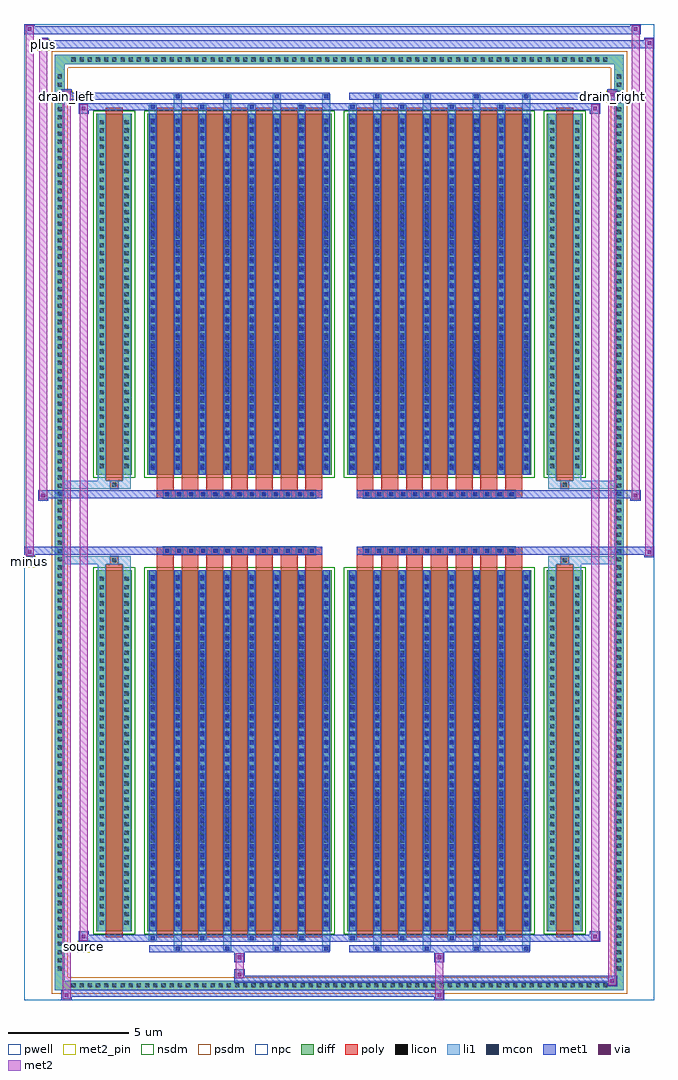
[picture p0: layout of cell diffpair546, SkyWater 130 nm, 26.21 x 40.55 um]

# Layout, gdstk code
import gdstk
lib = gdstk.Library(unit=1e-6, precision=5e-09)
def R(c, l, rs):  # rectangles x0, y0, x1, y1
    for r in rs: c.add(gdstk.rectangle(r[:2], r[2:], *l))
def A(c, l, x, y, w, h, nx, ny, dx, dy):  # array of equal rectangles
    R(c, l, [(x+i*dx, y+j*dy, x+i*dx+w, y+j*dy+h) for i in range(nx) for j in range(ny)])
def P(c, l, *ps):  # polygons
    for p in ps: c.add(gdstk.Polygon(p, *l))
pwell = (64, 44)
diff = (65, 20)
poly = (66, 20)
licon = (66, 44)
li1 = (67, 20)
mcon = (67, 44)
met1 = (68, 20)
via = (68, 44)
met2_pin = (69, 16)
met2 = (69, 20)
nsdm = (93, 44)
psdm = (94, 20)
npc = (95, 20)

diffpair546 = lib.new_cell('diffpair546')
R(diffpair546, pwell, [(-13.09,-19.84,13.09,20.71), (-10.41,-18.03,-0.01,-0.805), (0.01,-18.03,10.41,-0.805), (-10.41,0.805,-0.01,18.03), (0.01,0.805,10.41,18.03)])
A(diffpair546, diff, -11.255, -19.44, 0.41, 0.41, 66, 2, 0.34, 38.47)
A(diffpair546, diff, -11.82, -18.735, 0.41, 0.41, 1, 110, 0, 0.34)
A(diffpair546, diff, 11.41, -18.735, 0.41, 0.41, 1, 110, 0, 0.34)
R(diffpair546, diff, [(-11.255,-19.44,11.255,-19.03), (-11.82,-18.735,-11.41,18.735), (11.41,-18.735,11.82,18.735), (-10.1,-16.985,-8.62,-1.985), (-7.98,-16.985,-0.32,-1.985), (0.32,-16.985,7.98,-1.985), (8.62,-16.985,10.1,-1.985), (-10.1,1.985,-8.62,16.985), (-7.98,1.985,-0.32,16.985), (0.32,1.985,7.98,16.985), (8.62,1.985,10.1,16.985), (-11.255,19.03,11.255,19.44)])
P(diffpair546, diff, [(11.82,19.44),(-11.82,19.44),(-11.82,-19.03),(-11.41,-19.03),(-11.41,19.03),(11.41,19.03),(11.41,-19.03),(-11.41,-19.03),(-11.82,-19.03),(-11.82,-19.44),(11.82,-19.44)])
A(diffpair546, poly, -7.59, -17.235, 0.7, 15.5, 7, 2, 1.03, 18.97)
A(diffpair546, poly, 0.71, -17.235, 0.7, 15.5, 7, 2, 1.03, 18.97)
A(diffpair546, poly, -7.59, -1.735, 0.7, 0.4, 7, 2, 1.03, 3.07)
A(diffpair546, poly, 0.71, -1.735, 0.7, 0.4, 7, 2, 1.03, 3.07)
A(diffpair546, poly, -7.315, -1.335, 0.33, 0.33, 13, 2, 0.5, 2.34)
A(diffpair546, poly, 0.985, -1.335, 0.33, 0.33, 13, 2, 0.5, 2.34)
R(diffpair546, poly, [(-9.71,-17.235,-9.01,-1.735), (9.01,-17.235,9.71,-1.735), (-9.525,-1.735,-9.195,-1.405), (-9.525,-1.735,-9.195,-1.405), (9.195,-1.735,9.525,-1.405), (9.195,-1.735,9.525,-1.405), (-7.59,-1.335,-0.71,-1.005), (0.71,-1.335,7.59,-1.005), (-7.59,1.005,-0.71,1.335), (0.71,1.005,7.59,1.335), (-9.525,1.405,-9.195,1.735), (-9.525,1.405,-9.195,1.735), (9.195,1.405,9.525,1.735), (9.195,1.405,9.525,1.735), (-9.71,1.735,-9.01,17.235), (9.01,1.735,9.71,17.235)])
A(diffpair546, licon, -11.135, -19.32, 0.17, 0.17, 66, 2, 0.34, 38.47)
A(diffpair546, licon, -11.7, -18.615, 0.17, 0.17, 1, 110, 0, 0.34)
A(diffpair546, licon, 11.53, -18.615, 0.17, 0.17, 1, 110, 0, 0.34)
A(diffpair546, licon, -9.96, -16.71, 0.17, 0.17, 1, 43, 0, 0.34)
A(diffpair546, licon, -8.93, -16.71, 0.17, 0.17, 1, 43, 0, 0.34)
A(diffpair546, licon, -7.84, -16.71, 0.17, 0.17, 8, 43, 1.03, 0.34)
A(diffpair546, licon, 0.46, -16.71, 0.17, 0.17, 8, 43, 1.03, 0.34)
A(diffpair546, licon, 8.76, -16.71, 0.17, 0.17, 1, 43, 0, 0.34)
A(diffpair546, licon, 9.79, -16.71, 0.17, 0.17, 1, 43, 0, 0.34)
A(diffpair546, licon, -7.235, -1.255, 0.17, 0.17, 13, 2, 0.5, 2.34)
A(diffpair546, licon, 1.065, -1.255, 0.17, 0.17, 13, 2, 0.5, 2.34)
A(diffpair546, licon, -9.96, 2.26, 0.17, 0.17, 1, 43, 0, 0.34)
A(diffpair546, licon, -8.93, 2.26, 0.17, 0.17, 1, 43, 0, 0.34)
A(diffpair546, licon, -7.84, 2.26, 0.17, 0.17, 8, 43, 1.03, 0.34)
A(diffpair546, licon, 0.46, 2.26, 0.17, 0.17, 8, 43, 1.03, 0.34)
A(diffpair546, licon, 8.76, 2.26, 0.17, 0.17, 1, 43, 0, 0.34)
A(diffpair546, licon, 9.79, 2.26, 0.17, 0.17, 1, 43, 0, 0.34)
R(diffpair546, licon, [(-9.445,-1.655,-9.275,-1.485), (9.275,-1.655,9.445,-1.485), (-9.445,1.485,-9.275,1.655), (9.275,1.485,9.445,1.655)])
A(diffpair546, li1, -11.215, -19.4, 0.33, 0.33, 66, 2, 0.34, 38.47)
A(diffpair546, li1, -11.78, -18.695, 0.33, 0.33, 1, 110, 0, 0.34)
A(diffpair546, li1, 11.45, -18.695, 0.33, 0.33, 1, 110, 0, 0.34)
A(diffpair546, li1, -6.89, -17.79, 0.33, 0.805, 4, 2, 2.06, 34.775)
A(diffpair546, li1, -6.81, -17.79, 0.17, 0.17, 4, 2, 2.06, 35.41)
A(diffpair546, li1, 1.41, -17.79, 0.33, 0.805, 4, 2, 2.06, 34.775)
A(diffpair546, li1, 1.49, -17.79, 0.17, 0.17, 4, 2, 2.06, 35.41)
A(diffpair546, li1, -7.92, -17.36, 0.33, 0.375, 4, 2, 2.06, 34.345)
A(diffpair546, li1, -7.84, -17.36, 0.17, 0.17, 4, 2, 2.06, 34.55)
A(diffpair546, li1, 0.38, -17.36, 0.33, 0.375, 4, 2, 2.06, 34.345)
A(diffpair546, li1, 0.46, -17.36, 0.17, 0.17, 4, 2, 2.06, 34.55)
A(diffpair546, li1, -7.92, -16.985, 0.33, 15, 8, 2, 1.03, 18.97)
A(diffpair546, li1, 0.38, -16.985, 0.33, 15, 8, 2, 1.03, 18.97)
A(diffpair546, li1, -10.04, -16.79, 0.33, 0.33, 1, 43, 0, 0.34)
A(diffpair546, li1, -9.01, -16.79, 0.33, 0.33, 1, 43, 0, 0.34)
A(diffpair546, li1, -7.92, -16.79, 0.33, 0.33, 8, 43, 1.03, 0.34)
A(diffpair546, li1, 0.38, -16.79, 0.33, 0.33, 8, 43, 1.03, 0.34)
A(diffpair546, li1, 8.68, -16.79, 0.33, 0.33, 1, 43, 0, 0.34)
A(diffpair546, li1, 9.71, -16.79, 0.33, 0.33, 1, 43, 0, 0.34)
A(diffpair546, li1, -7.84, -16.77, 0.17, 0.17, 8, 41, 1.03, 0.36)
A(diffpair546, li1, -7.84, -16.77, 0.17, 14.57, 8, 2, 1.03, 18.97)
A(diffpair546, li1, 0.46, -16.77, 0.17, 0.17, 8, 41, 1.03, 0.36)
A(diffpair546, li1, 0.46, -16.77, 0.17, 14.57, 8, 2, 1.03, 18.97)
A(diffpair546, li1, -7.315, -1.335, 0.33, 0.33, 13, 2, 0.5, 2.34)
A(diffpair546, li1, 0.985, -1.335, 0.33, 0.33, 13, 2, 0.5, 2.34)
A(diffpair546, li1, -10.04, 2.18, 0.33, 0.33, 1, 43, 0, 0.34)
A(diffpair546, li1, -9.01, 2.18, 0.33, 0.33, 1, 43, 0, 0.34)
A(diffpair546, li1, -7.92, 2.18, 0.33, 0.33, 8, 43, 1.03, 0.34)
A(diffpair546, li1, 0.38, 2.18, 0.33, 0.33, 8, 43, 1.03, 0.34)
A(diffpair546, li1, 8.68, 2.18, 0.33, 0.33, 1, 43, 0, 0.34)
A(diffpair546, li1, 9.71, 2.18, 0.33, 0.33, 1, 43, 0, 0.34)
A(diffpair546, li1, -7.84, 2.2, 0.17, 0.17, 8, 41, 1.03, 0.36)
A(diffpair546, li1, 0.46, 2.2, 0.17, 0.17, 8, 41, 1.03, 0.36)
R(diffpair546, li1, [(-11.82,-19.44,-11.41,-19.03), (-11.82,-19.44,-11.41,-19.03), (-11.41,-19.44,11.41,-19.03), (11.41,-19.44,11.82,-19.03), (11.41,-19.44,11.82,-19.03), (-11.82,-19.03,-11.41,19.03), (11.41,-19.03,11.82,19.03), (-10.04,-16.985,-9.71,-1.985), (-9.01,-16.985,-8.68,-1.985), (8.68,-16.985,9.01,-1.985), (9.71,-16.985,10.04,-1.985), (-10.04,-1.985,-9.71,-1.405), (-9.01,-1.985,-8.68,-1.405), (8.68,-1.985,9.01,-1.405), (9.71,-1.985,10.04,-1.405), (-11.82,-1.735,-9.525,-1.405), (-10.04,-1.735,-9.525,-1.405), (-9.525,-1.735,-9.195,-1.405), (-9.195,-1.735,-8.68,-1.405), (8.68,-1.735,9.195,-1.405), (9.195,-1.735,9.525,-1.405), (9.195,-1.735,11.82,-1.405), (9.525,-1.735,10.04,-1.405), (-11.82,1.405,-9.525,1.735), (-10.04,1.405,-9.525,1.735), (-10.04,1.405,-9.71,1.985), (-9.525,1.405,-9.195,1.735), (-9.195,1.405,-8.68,1.735), (-9.01,1.405,-8.68,1.985), (8.68,1.405,9.195,1.735), (8.68,1.405,9.01,1.985), (9.195,1.405,9.525,1.735), (9.195,1.405,11.82,1.735), (9.525,1.405,10.04,1.735), (9.71,1.405,10.04,1.985), (-10.04,1.985,-9.71,16.985), (-9.01,1.985,-8.68,16.985), (8.68,1.985,9.01,16.985), (9.71,1.985,10.04,16.985), (-11.82,19.03,-11.41,19.44), (-11.82,19.03,-11.41,19.44), (-11.41,19.03,11.41,19.44), (11.41,19.03,11.82,19.44), (11.41,19.03,11.82,19.44)])
A(diffpair546, mcon, -6.81, -17.79, 0.17, 0.17, 4, 2, 2.06, 35.41)
A(diffpair546, mcon, 1.49, -17.79, 0.17, 0.17, 4, 2, 2.06, 35.41)
A(diffpair546, mcon, -7.84, -17.36, 0.17, 0.17, 4, 2, 2.06, 34.55)
A(diffpair546, mcon, 0.46, -17.36, 0.17, 0.17, 4, 2, 2.06, 34.55)
A(diffpair546, mcon, -7.84, -16.77, 0.17, 0.17, 8, 41, 1.03, 0.36)
A(diffpair546, mcon, 0.46, -16.77, 0.17, 0.17, 8, 41, 1.03, 0.36)
A(diffpair546, mcon, -7.235, -1.255, 0.17, 0.17, 13, 2, 0.5, 2.34)
A(diffpair546, mcon, 1.065, -1.255, 0.17, 0.17, 13, 2, 0.5, 2.34)
A(diffpair546, mcon, -7.84, 2.2, 0.17, 0.17, 8, 41, 1.03, 0.36)
A(diffpair546, mcon, 0.46, 2.2, 0.17, 0.17, 8, 41, 1.03, 0.36)
A(diffpair546, met1, -6.87, -17.85, 0.29, 0.29, 4, 2, 2.06, 35.41)
A(diffpair546, met1, 1.43, -17.85, 0.29, 0.29, 4, 2, 2.06, 35.41)
A(diffpair546, met1, -7.9, -17.42, 0.29, 0.29, 4, 2, 2.06, 34.55)
A(diffpair546, met1, 0.4, -17.42, 0.29, 0.29, 4, 2, 2.06, 34.55)
A(diffpair546, met1, -7.9, -16.985, 0.29, 15, 8, 2, 1.03, 18.97)
A(diffpair546, met1, 0.4, -16.985, 0.29, 15, 8, 2, 1.03, 18.97)
A(diffpair546, met1, -7.9, -16.83, 0.29, 0.29, 8, 41, 1.03, 0.36)
A(diffpair546, met1, 0.4, -16.83, 0.29, 0.29, 8, 41, 1.03, 0.36)
A(diffpair546, met1, -7.295, -1.315, 0.29, 0.29, 13, 2, 0.5, 2.34)
A(diffpair546, met1, 1.005, -1.315, 0.29, 0.29, 13, 2, 0.5, 2.34)
A(diffpair546, met1, -7.9, 2.14, 0.29, 0.29, 8, 41, 1.03, 0.36)
A(diffpair546, met1, 0.4, 2.14, 0.29, 0.29, 8, 41, 1.03, 0.36)
R(diffpair546, met1, [(-11.55,-19.84,-11.12,-19.41), (3.935,-19.84,4.365,-19.41), (-11.55,-19.7,4.365,-19.41), (11.12,-19.27,11.55,-18.84), (-4.365,-19.13,11.55,-18.84), (-4.365,-18.99,-3.935,-18.56), (-4.365,-18.28,-3.935,-17.85), (3.935,-18.28,4.365,-17.85), (-7.9,-17.85,-0.4,-17.56), (0.4,-17.85,7.9,-17.56), (-10.84,-17.42,-10.41,-16.99), (-10.84,-17.42,-7.9,-17.13), (-7.9,-17.42,-0.4,-17.13), (-0.4,-17.42,0.4,-17.13), (0.4,-17.42,7.9,-17.13), (7.9,-17.42,10.84,-17.13), (10.41,-17.42,10.84,-16.99), (-13.09,-1.435,-12.66,-1.005), (12.66,-1.435,13.09,-1.005), (-13.09,-1.335,-0.71,-1.005), (-7.59,-1.335,-0.71,-1.005), (0.71,-1.335,7.59,-1.005), (0.71,-1.335,13.09,-1.005), (-12.52,0.905,-12.09,1.335), (12.09,0.905,12.52,1.335), (-12.52,1.005,-7.59,1.335), (-7.59,1.005,-0.71,1.335), (0.71,1.005,7.59,1.335), (7.59,1.005,12.52,1.335), (-10.84,16.99,-10.41,17.42), (10.41,16.99,10.84,17.42), (-10.84,17.13,-7.9,17.42), (-7.9,17.13,-0.4,17.42), (-0.4,17.13,0.4,17.42), (0.4,17.13,7.9,17.42), (7.9,17.13,10.84,17.42), (-11.55,17.56,-11.12,17.99), (-11.55,17.56,-7.9,17.85), (-7.9,17.56,-0.4,17.85), (0.4,17.56,7.9,17.85), (7.9,17.56,11.55,17.85), (11.12,17.56,11.55,17.99), (-12.52,19.71,-12.09,20.14), (-12.52,19.71,-10.41,20.04), (-10.41,19.71,10.41,20.04), (10.41,19.71,13.09,20.04), (12.66,19.71,13.09,20.14), (-13.09,20.28,-12.66,20.71), (-13.09,20.28,-10.41,20.61), (-10.41,20.28,10.41,20.61), (10.41,20.28,12.52,20.61), (12.09,20.28,12.52,20.71)])
R(diffpair546, via, [(-11.41,-19.7,-11.26,-19.55), (4.075,-19.7,4.225,-19.55), (11.26,-19.13,11.41,-18.98), (-4.225,-18.85,-4.075,-18.7), (-4.225,-18.14,-4.075,-17.99), (4.075,-18.14,4.225,-17.99), (-10.7,-17.28,-10.55,-17.13), (10.55,-17.28,10.7,-17.13), (-12.95,-1.295,-12.8,-1.145), (12.8,-1.295,12.95,-1.145), (-12.38,1.045,-12.23,1.195), (12.23,1.045,12.38,1.195), (-10.7,17.13,-10.55,17.28), (10.55,17.13,10.7,17.28), (-11.41,17.7,-11.26,17.85), (11.26,17.7,11.41,17.85), (-12.38,19.85,-12.23,20), (12.8,19.85,12.95,20), (-12.95,20.42,-12.8,20.57), (12.23,20.42,12.38,20.57)])
R(diffpair546, met2_pin, [(-10.875,-17.87,-10.375,-17.37), (-13.125,-1.885,-12.625,-1.385), (-11.585,17.44,-11.085,17.94), (11.085,17.44,11.585,17.94), (-12.555,19.59,-12.055,20.09)])
R(diffpair546, met2, [(-11.5,-19.79,-11.17,-19.46), (-11.5,-19.79,-11.17,17.94), (3.985,-19.79,4.315,-19.46), (3.985,-19.46,4.315,-18.23), (11.17,-19.22,11.5,-18.89), (11.17,-19.22,11.5,17.94), (-4.315,-18.94,-3.985,-18.61), (-4.315,-18.61,-3.985,-18.23), (-4.315,-18.23,-3.985,-17.9), (3.985,-18.23,4.315,-17.9), (-10.79,-17.37,-10.46,-17.04), (-10.79,-17.37,-10.46,17.37), (10.46,-17.37,10.79,-17.04), (10.46,-17.37,10.79,17.37), (-13.04,-1.385,-12.71,-1.055), (-13.04,-1.385,-12.71,20.66), (12.71,-1.385,13.04,-1.055), (12.71,-1.385,13.04,20.09), (-12.47,0.955,-12.14,1.285), (-12.47,0.955,-12.14,20.09), (12.14,0.955,12.47,1.285), (12.14,0.955,12.47,20.66), (-10.79,17.04,-10.46,17.37), (10.46,17.04,10.79,17.37), (-11.5,17.61,-11.17,17.94), (11.17,17.61,11.5,17.94), (-12.47,19.76,-12.14,20.09), (12.71,19.76,13.04,20.09), (-13.04,20.33,-12.71,20.66), (12.14,20.33,12.47,20.66)])
P(diffpair546, met2, [(13.04,-1.385),(13.04,-1.385),(13.04,-1.055),(13.04,-1.055)],
  [(13.04,19.76),(13.04,19.76),(13.04,20.09),(13.04,20.09)],
  [(-12.71,-1.385),(-12.71,-1.385),(-12.71,-1.055),(-12.71,-1.055)],
  [(-12.71,20.33),(-12.71,20.33),(-12.71,20.66),(-12.71,20.66)],
  [(12.47,0.955),(12.47,0.955),(12.47,1.285),(12.47,1.285)],
  [(12.47,20.33),(12.47,20.33),(12.47,20.66),(12.47,20.66)],
  [(-12.14,0.955),(-12.14,0.955),(-12.14,1.285),(-12.14,1.285)],
  [(-12.14,19.76),(-12.14,19.76),(-12.14,20.09),(-12.14,20.09)],
  [(-11.17,-19.79),(-11.17,-19.79),(-11.17,-19.46),(-11.17,-19.46)],
  [(-11.17,17.61),(-11.17,17.61),(-11.17,17.94),(-11.17,17.94)],
  [(11.5,-19.22),(11.5,-19.22),(11.5,-18.89),(11.5,-18.89)],
  [(11.5,17.61),(11.5,17.61),(11.5,17.94),(11.5,17.94)],
  [(-10.46,-17.37),(-10.46,-17.37),(-10.46,-17.04),(-10.46,-17.04)],
  [(-10.46,17.04),(-10.46,17.04),(-10.46,17.37),(-10.46,17.37)],
  [(10.79,-17.37),(10.79,-17.37),(10.79,-17.04),(10.79,-17.04)],
  [(10.79,17.04),(10.79,17.04),(10.79,17.37),(10.79,17.37)])
R(diffpair546, nsdm, [(-10.23,-17.115,-8.49,-1.855), (-8.11,-17.115,-0.19,-1.855), (0.19,-17.115,8.11,-1.855), (8.49,-17.115,10.23,-1.855), (-10.23,1.855,-8.49,17.115), (-8.11,1.855,-0.19,17.115), (0.19,1.855,8.11,17.115), (8.49,1.855,10.23,17.115)])
P(diffpair546, psdm, [(11.95,19.57),(-11.95,19.57),(-11.95,-18.9),(-11.28,-18.9),(-11.28,18.9),(11.28,18.9),(11.28,-18.9),(-11.28,-18.9),(-11.95,-18.9),(-11.95,-19.57),(11.95,-19.57)])
A(diffpair546, npc, -7.335, -1.355, 0.37, 0.37, 13, 2, 0.5, 2.34)
A(diffpair546, npc, 0.965, -1.355, 0.37, 0.37, 13, 2, 0.5, 2.34)
R(diffpair546, npc, [(-9.545,-1.755,-9.175,-1.385), (9.175,-1.755,9.545,-1.385), (-7.335,-1.355,-6.465,-0.985), (-7.335,-1.355,-6.465,-0.985), (-6.835,-1.355,-5.965,-0.985), (-6.835,-1.355,-5.965,-0.985), (-6.335,-1.355,-5.465,-0.985), (-6.335,-1.355,-5.465,-0.985), (-5.835,-1.355,-4.965,-0.985), (-5.835,-1.355,-4.965,-0.985), (-5.335,-1.355,-4.465,-0.985), (-5.335,-1.355,-4.465,-0.985), (-4.835,-1.355,-3.965,-0.985), (-4.835,-1.355,-3.965,-0.985), (-4.335,-1.355,-3.465,-0.985), (-4.335,-1.355,-3.465,-0.985), (-3.835,-1.355,-2.965,-0.985), (-3.835,-1.355,-2.965,-0.985), (-3.335,-1.355,-2.465,-0.985), (-3.335,-1.355,-2.465,-0.985), (-2.835,-1.355,-1.965,-0.985), (-2.835,-1.355,-1.965,-0.985), (-2.335,-1.355,-1.465,-0.985), (-2.335,-1.355,-1.465,-0.985), (-1.835,-1.355,-0.965,-0.985), (-1.835,-1.355,-0.965,-0.985), (0.965,-1.355,1.835,-0.985), (0.965,-1.355,1.835,-0.985), (1.465,-1.355,2.335,-0.985), (1.465,-1.355,2.335,-0.985), (1.965,-1.355,2.835,-0.985), (1.965,-1.355,2.835,-0.985), (2.465,-1.355,3.335,-0.985), (2.465,-1.355,3.335,-0.985), (2.965,-1.355,3.835,-0.985), (2.965,-1.355,3.835,-0.985), (3.465,-1.355,4.335,-0.985), (3.465,-1.355,4.335,-0.985), (3.965,-1.355,4.835,-0.985), (3.965,-1.355,4.835,-0.985), (4.465,-1.355,5.335,-0.985), (4.465,-1.355,5.335,-0.985), (4.965,-1.355,5.835,-0.985), (4.965,-1.355,5.835,-0.985), (5.465,-1.355,6.335,-0.985), (5.465,-1.355,6.335,-0.985), (5.965,-1.355,6.835,-0.985), (5.965,-1.355,6.835,-0.985), (6.465,-1.355,7.335,-0.985), (6.465,-1.355,7.335,-0.985), (-7.335,0.985,-6.465,1.355), (-7.335,0.985,-6.465,1.355), (-6.835,0.985,-5.965,1.355), (-6.835,0.985,-5.965,1.355), (-6.335,0.985,-5.465,1.355), (-6.335,0.985,-5.465,1.355), (-5.835,0.985,-4.965,1.355), (-5.835,0.985,-4.965,1.355), (-5.335,0.985,-4.465,1.355), (-5.335,0.985,-4.465,1.355), (-4.835,0.985,-3.965,1.355), (-4.835,0.985,-3.965,1.355), (-4.335,0.985,-3.465,1.355), (-4.335,0.985,-3.465,1.355), (-3.835,0.985,-2.965,1.355), (-3.835,0.985,-2.965,1.355), (-3.335,0.985,-2.465,1.355), (-3.335,0.985,-2.465,1.355), (-2.835,0.985,-1.965,1.355), (-2.835,0.985,-1.965,1.355), (-2.335,0.985,-1.465,1.355), (-2.335,0.985,-1.465,1.355), (-1.835,0.985,-0.965,1.355), (-1.835,0.985,-0.965,1.355), (0.965,0.985,1.835,1.355), (0.965,0.985,1.835,1.355), (1.465,0.985,2.335,1.355), (1.465,0.985,2.335,1.355), (1.965,0.985,2.835,1.355), (1.965,0.985,2.835,1.355), (2.465,0.985,3.335,1.355), (2.465,0.985,3.335,1.355), (2.965,0.985,3.835,1.355), (2.965,0.985,3.835,1.355), (3.465,0.985,4.335,1.355), (3.465,0.985,4.335,1.355), (3.965,0.985,4.835,1.355), (3.965,0.985,4.835,1.355), (4.465,0.985,5.335,1.355), (4.465,0.985,5.335,1.355), (4.965,0.985,5.835,1.355), (4.965,0.985,5.835,1.355), (5.465,0.985,6.335,1.355), (5.465,0.985,6.335,1.355), (5.965,0.985,6.835,1.355), (5.965,0.985,6.835,1.355), (6.465,0.985,7.335,1.355), (6.465,0.985,7.335,1.355), (-9.545,1.385,-9.175,1.755), (9.175,1.385,9.545,1.755)])
diffpair546.add(gdstk.Label('minus', (-12.875,-1.635), layer=69, texttype=5))
diffpair546.add(gdstk.Label('drain_right', (11.335,17.69), layer=69, texttype=5))
diffpair546.add(gdstk.Label('drain_left', (-11.335,17.69), layer=69, texttype=5))
diffpair546.add(gdstk.Label('source', (-10.625,-17.62), layer=69, texttype=5))
diffpair546.add(gdstk.Label('plus', (-12.305,19.84), layer=69, texttype=5))

lib.write_gds('diffpair546.gds')
